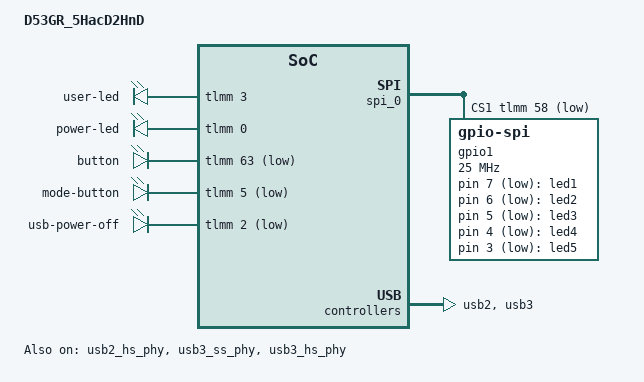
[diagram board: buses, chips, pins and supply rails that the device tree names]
/dts-v1/;
#include "ipq40xx.dtsi"

/ {
	model = "D53GR_5HacD2HnD";

	leds {
		compatible = "leds-rb";
		led1 {
			gpios = <&gpio1 7 GPIO_ACTIVE_LOW>;
		};
		led2 {
			gpios = <&gpio1 6 GPIO_ACTIVE_LOW>;
		};
		led3 {
			gpios = <&gpio1 5 GPIO_ACTIVE_LOW>;
		};
		led4 {
			gpios = <&gpio1 4 GPIO_ACTIVE_LOW>;
		};
		led5 {
			gpios = <&gpio1 3 GPIO_ACTIVE_LOW>;
		};
		user-led {
			gpios = <&tlmm 3 GPIO_ACTIVE_HIGH>;
		};
		power-led {
			gpios = <&tlmm 0 GPIO_ACTIVE_HIGH>;
			default-state = "keep";
		};
		button {
			gpios = <&tlmm 63 GPIO_ACTIVE_LOW>;
			default-state = "input";
		};
		mode-button {
			gpios = <&tlmm 5 GPIO_ACTIVE_LOW>;
			default-state = "input";
		};
		usb-power-off {
			gpios = <&tlmm 2 GPIO_ACTIVE_LOW>;
		};
	};
};

&tlmm {
	gpio_spi_pin: gpio_spi_pin_pinmux {
		mux {
			pins = "gpio58";
			function = "gpio";
			bias-disable;
			output-high;
		};
	};
};

&spi_0 {
	num-cs = <2>;
	cs-gpios = <0>, <&tlmm 58 GPIO_ACTIVE_LOW>;

	gpio1: gpio-spi@1 {
		pinctrl-0 = <&gpio_spi_pin>;
		pinctrl-names = "default";
		compatible = "gpio-spi";
		gpio-controller;
		#gpio-cells = <2>;
		nr-gpo = <8>;
		nr-gpi = <0>;
		spi-max-frequency = <25000000>;
		reg = <1>;
	};
};

&edma {
	port_map = <4 3 2 1 0(-1)>;
};

&usb2 {
	status = "ok";
};

&usb2_hs_phy {
	status = "ok";
};

&usb3 {
	status = "ok";
};

&usb3_ss_phy {
	status = "ok";
};

&usb3_hs_phy {
	status = "ok";
};
